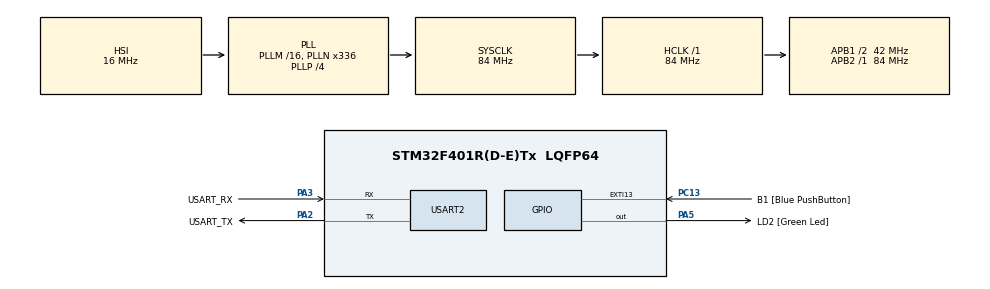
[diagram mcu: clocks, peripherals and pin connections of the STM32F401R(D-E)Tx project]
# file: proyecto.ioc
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FREERTOS.Tasks01=defaultTask,24,128,StartDefaultTask,Default,NULL,Dynamic,NULL,NULL
FREERTOS.configUSE_NEWLIB_REENTRANT=1
Mcu.Family=STM32F4
Mcu.Name=STM32F401R(D-E)Tx
Mcu.Package=LQFP64
NVIC.PriorityGroup=NVIC_PRIORITYGROUP_4
NVIC.TIM1_UP_TIM10_IRQn=true\:15\:0\:false\:false\:true\:false\:false\:true
NVIC.TimeBase=TIM1_UP_TIM10_IRQn
NVIC.TimeBaseIP=TIM1
NVIC.USART2_IRQn=true\:5\:0\:false\:false\:true\:true\:true\:true
PA13.GPIO_Label=TMS
PA13.Mode=Serial_Wire
PA13.Signal=SYS_JTMS-SWDIO
PA14.GPIO_Label=TCK
PA14.Mode=Serial_Wire
PA14.Signal=SYS_JTCK-SWCLK
PA2.GPIO_Label=USART_TX
PA2.GPIO_Mode=GPIO_MODE_AF_PP
PA2.GPIO_PuPd=GPIO_NOPULL
PA2.GPIO_Speed=GPIO_SPEED_FREQ_LOW
PA2.Mode=Asynchronous
PA2.Signal=USART2_TX
PA3.GPIO_Label=USART_RX
PA3.GPIO_Mode=GPIO_MODE_AF_PP
PA3.GPIO_PuPd=GPIO_NOPULL
PA3.GPIO_Speed=GPIO_SPEED_FREQ_LOW
PA3.Mode=Asynchronous
PA3.Signal=USART2_RX
PA5.GPIO_Label=LD2 [Green Led]
PA5.GPIO_Mode=GPIO_MODE_OUTPUT_PP
PA5.GPIO_PuPd=GPIO_NOPULL
PA5.GPIO_Speed=GPIO_SPEED_FREQ_LOW
PA5.Signal=GPIO_Output
PB3.GPIO_Label=SWO
PB3.Signal=SYS_JTDO-SWO
PC13-ANTI_TAMP.GPIO_Label=B1 [Blue PushButton]
PC13-ANTI_TAMP.GPIO_ModeDefaultEXTI=GPIO_MODE_IT_FALLING
PC13-ANTI_TAMP.GPIO_PuPd=GPIO_NOPULL
PC13-ANTI_TAMP.Signal=GPXTI13
PC14-OSC32_IN.Mode=LSE-External-Oscillator
PC14-OSC32_IN.Signal=RCC_OSC32_IN
PC15-OSC32_OUT.Mode=LSE-External-Oscillator
PC15-OSC32_OUT.Signal=RCC_OSC32_OUT
PH0\ -\ OSC_IN.Mode=HSE-External-Clock-Source
PH0\ -\ OSC_IN.Signal=RCC_OSC_IN
PH1\ -\ OSC_OUT.Mode=HSE-External-Clock-Source
PH1\ -\ OSC_OUT.Signal=RCC_OSC_OUT
ProjectManager.HeapSize=0x200
ProjectManager.StackSize=0x400
ProjectManager.TargetToolchain=STM32CubeIDE
RCC.48MHZClocksFreq_Value=48000000
RCC.AHBFreq_Value=84000000
RCC.APB1CLKDivider=RCC_HCLK_DIV2
RCC.APB1Freq_Value=42000000
RCC.APB1TimFreq_Value=84000000
RCC.APB2Freq_Value=84000000
RCC.APB2TimFreq_Value=84000000
RCC.CortexFreq_Value=84000000
RCC.HCLKFreq_Value=84000000
RCC.HSE_VALUE=8000000
RCC.HSI_VALUE=16000000
RCC.PLLN=336
RCC.PLLP=RCC_PLLP_DIV4
RCC.PLLQ=7
RCC.SYSCLKFreq_VALUE=84000000
RCC.SYSCLKSource=RCC_SYSCLKSOURCE_PLLCLK
RCC.VCOOutputFreq_Value=336000000
USART2.VirtualMode=VM_ASYNC
VP_FREERTOS_VS_CMSIS_V2.Mode=CMSIS_V2
VP_SYS_VS_tim1.Mode=TIM1
board=NUCLEO-F401RE

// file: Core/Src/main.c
/* USER CODE BEGIN Header */
/**
 ******************************************************************************
 * @file           : main.c
 * @brief          : Main program body
 ******************************************************************************
 * @attention
 *
 * <h2><center>&copy; Copyright (c) 2021 STMicroelectronics.
 * All rights reserved.</center></h2>
 *
 * This software component is licensed by ST under BSD 3-Clause license,
 * the "License"; You may not use this file except in compliance with the
 * License. You may obtain a copy of the License at:
 *                        opensource.org/licenses/BSD-3-Clause
 *
 ******************************************************************************
 */
/* USER CODE END Header */
#include "main.h"
#include "cmsis_os.h"

/* USER CODE BEGIN Includes */
#include <stdio.h>
#include <string.h>
#include "qmpool.h"
#include "capa1_impresion.h"
#include "capa2_proceso.h"
#include "capa3_aplicacion.h"
/* USER CODE END Includes */

/* USER CODE BEGIN PD */
#define TAM_PAQUETE 20
#define PACKET_SIZE_200  		200							    // Tamanio del paquete
#define POOL_TOTAL_BLOCKS_200	4								// Cuantos paquetes
#define PACKET_SIZE_100	  		100							    // Tamanio del paquete
#define POOL_TOTAL_BLOCKS_100 	8								// Cuantos paquetes
#define PACKET_SIZE_50  		50							    // Tamanio del paquete
#define POOL_TOTAL_BLOCKS_50 	16								// Cuantos paquetes
#define PACKET_SIZE_25  		25							    // Tamanio del paquete
#define POOL_TOTAL_BLOCKS_25 	32								// Cuantos paquetes
/* USER CODE END PD */

/* USER CODE BEGIN PM */
#define POOL_SIZE 				(POOL_TOTAL_BLOCKS_200*PACKET_SIZE_200) //Todos los pools tienen el mismo tamaño
/* USER CODE END PM */

UART_HandleTypeDef huart2;

/* Definitions for defaultTask */
osThreadId_t defaultTaskHandle;
const osThreadAttr_t defaultTask_attributes = { .name = "defaultTask", .stack_size = 128 * 4, .priority = (osPriority_t) osPriorityNormal, };
/* USER CODE BEGIN PV */
tPool poolPtr_200, poolPtr_100, poolPtr_50, poolPtr_25; //puntero al segmento de memoria que albergara el pool
QMPool poolMem_200, poolMem_100, poolMem_50, poolMem_25; //memory pool (contienen la informacion que necesita la biblioteca qmpool.h)
tPool poolPtr_200, poolPtr_100, poolPtr_50, poolPtr_25; //puntero al segmento de memoria que albergara el pool
QMPool poolMem_200, poolMem_100, poolMem_50, poolMem_25; //memory pool (contienen la informacion que necesita la biblioteca qmpool.h)
QueueHandle_t queue_c2_to_c3;
QueueHandle_t queue_c3_to_c2;
QueueHandle_t queue_c2_to_c1;

/* USER CODE END PV */

void SystemClock_Config(void);
static void MX_GPIO_Init(void);
static void MX_USART2_UART_Init(void);
void StartDefaultTask(void *argument);

int main(void) {
	/* USER CODE BEGIN 1 */
	// ---------- CONFIGURACIONES ------------------------------
	//	Reservo memoria para el memory pool
	poolPtr_200 = (tPool) pvPortMalloc(POOL_SIZE * sizeof(char));
	configASSERT(poolPtr_200!=NULL);
	poolPtr_100 = (tPool) pvPortMalloc(POOL_SIZE * sizeof(char));
	configASSERT(poolPtr_100!=NULL);
	poolPtr_50 = (tPool) pvPortMalloc(POOL_SIZE * sizeof(char));
	configASSERT(poolPtr_50!=NULL);
	poolPtr_25 = (tPool) pvPortMalloc(POOL_SIZE * sizeof(char));
	configASSERT(poolPtr_25!=NULL);

	//	Creo los pools de memoria
	QMPool_init(&poolMem_25, (tPool) poolPtr_25, POOL_SIZE * sizeof(tPool), PACKET_SIZE_25);
	QMPool_init(&poolMem_200, (tPool) poolPtr_200, POOL_SIZE * sizeof(tPool), PACKET_SIZE_200); //Tamanio del segmento de memoria reservado
	QMPool_init(&poolMem_100, (tPool) poolPtr_100, POOL_SIZE * sizeof(tPool), PACKET_SIZE_100);
	QMPool_init(&poolMem_50, (tPool) poolPtr_50, POOL_SIZE * sizeof(tPool), PACKET_SIZE_50);

	// Creo las COLAS para cominicar las diferentes capas

	//inicialización de capas
	// Iniciar scheduler

	// ---------- REPETIR POR SIEMPRE --------------------------
	//configASSERT(0);

	// NO DEBE LLEGAR NUNCA AQUI, debido a que a este programa se ejecuta
	// directamenteno sobre un microcontroladore y no es llamado por ningun
	// Sistema Operativo, como en el caso de un programa para PC.

	/* USER CODE END 1 */

	/* MCU Configuration--------------------------------------------------------*/

	/* Reset of all peripherals, Initializes the Flash interface and the Systick. */
	HAL_Init();

	/* Configure the system clock */
	SystemClock_Config();

	/* Initialize all configured peripherals */
	MX_GPIO_Init();
	MX_USART2_UART_Init();
	/* USER CODE BEGIN 2 */
	uint8_t dataT[14] = "desde main\n\r";
	int tam=sizeof(dataT)/sizeof(dataT[0]);
	HAL_UART_Transmit(&huart2, dataT, tam, HAL_MAX_DELAY);
	init_capa1_impresion(UART_USB);
	init_capa2_proceso(UART_USB);
	init_capa3_aplicacion();
	/* USER CODE END 2 */

	/* Init scheduler */
	osKernelInitialize();

	/* USER CODE BEGIN RTOS_QUEUES */
	/* add queues, ... */
	// Creo las COLAS para cominicar las diferentes capas
	queue_c2_to_c1 = xQueueCreate(N_QUEUE, sizeof(_sFrame));
	configASSERT(queue_c2_to_c1 != NULL); // Gestion de errores de colas

	queue_c2_to_c3 = xQueueCreate(N_QUEUE, sizeof(_sFrame));
	configASSERT(queue_c2_to_c3 != NULL); // Gestion de errores de colas

	queue_c3_to_c2 = xQueueCreate(N_QUEUE, sizeof(_sFrame));
	configASSERT(queue_c3_to_c2 != NULL); // Gestion de errores de colas
	/* USER CODE END RTOS_QUEUES */

	/* Create the thread(s) */
	/* creation of defaultTask */
	defaultTaskHandle = osThreadNew(StartDefaultTask, NULL, &defaultTask_attributes);

	/* Start scheduler */
	//osKernelStart();

	/* We should never get here as control is now taken by the scheduler */
	/* Infinite loop */
	/* USER CODE BEGIN WHILE */
	// Iniciar scheduler
	vTaskStartScheduler();					// Enciende tick | Crea idle y pone en ready | Evalua las tareas creadas | Prioridad mas alta pasa a running
	while (1) {
		/* USER CODE END WHILE */

	}
}

void SystemClock_Config(void) {
	RCC_OscInitTypeDef RCC_OscInitStruct = { 0 };
	RCC_ClkInitTypeDef RCC_ClkInitStruct = { 0 };

	/** Configure the main internal regulator output voltage
	 */
	__HAL_RCC_PWR_CLK_ENABLE();
	__HAL_PWR_VOLTAGESCALING_CONFIG(PWR_REGULATOR_VOLTAGE_SCALE2);
	/** Initializes the RCC Oscillators according to the specified parameters
	 * in the RCC_OscInitTypeDef structure.
	 */
	RCC_OscInitStruct.OscillatorType = RCC_OSCILLATORTYPE_HSI;
	RCC_OscInitStruct.HSIState = RCC_HSI_ON;
	RCC_OscInitStruct.HSICalibrationValue = RCC_HSICALIBRATION_DEFAULT;
	RCC_OscInitStruct.PLL.PLLState = RCC_PLL_ON;
	RCC_OscInitStruct.PLL.PLLSource = RCC_PLLSOURCE_HSI;
	RCC_OscInitStruct.PLL.PLLM = 16;
	RCC_OscInitStruct.PLL.PLLN = 336;
	RCC_OscInitStruct.PLL.PLLP = RCC_PLLP_DIV4;
	RCC_OscInitStruct.PLL.PLLQ = 7;
	if (HAL_RCC_OscConfig(&RCC_OscInitStruct) != HAL_OK) {
		Error_Handler();
	}
	/** Initializes the CPU, AHB and APB buses clocks
	 */
	RCC_ClkInitStruct.ClockType = RCC_CLOCKTYPE_HCLK | RCC_CLOCKTYPE_SYSCLK | RCC_CLOCKTYPE_PCLK1 | RCC_CLOCKTYPE_PCLK2;
	RCC_ClkInitStruct.SYSCLKSource = RCC_SYSCLKSOURCE_PLLCLK;
	RCC_ClkInitStruct.AHBCLKDivider = RCC_SYSCLK_DIV1;
	RCC_ClkInitStruct.APB1CLKDivider = RCC_HCLK_DIV2;
	RCC_ClkInitStruct.APB2CLKDivider = RCC_HCLK_DIV1;

	if (HAL_RCC_ClockConfig(&RCC_ClkInitStruct, FLASH_LATENCY_2) != HAL_OK) {
		Error_Handler();
	}
}

static void MX_USART2_UART_Init(void) {

	huart2.Instance = USART2;
	huart2.Init.BaudRate = 115200;
	huart2.Init.WordLength = UART_WORDLENGTH_8B;
	huart2.Init.StopBits = UART_STOPBITS_1;
	huart2.Init.Parity = UART_PARITY_NONE;
	huart2.Init.Mode = UART_MODE_TX_RX;
	huart2.Init.HwFlowCtl = UART_HWCONTROL_NONE;
	huart2.Init.OverSampling = UART_OVERSAMPLING_16;
	if (HAL_UART_Init(&huart2) != HAL_OK) {
		Error_Handler();
	}

}

static void MX_GPIO_Init(void) {
	GPIO_InitTypeDef GPIO_InitStruct = { 0 };

	/* GPIO Ports Clock Enable */
	__HAL_RCC_GPIOC_CLK_ENABLE();
	__HAL_RCC_GPIOH_CLK_ENABLE();
	__HAL_RCC_GPIOA_CLK_ENABLE();
	__HAL_RCC_GPIOB_CLK_ENABLE();

	/*Configure GPIO pin Output Level */
	HAL_GPIO_WritePin(LD2_GPIO_Port, LD2_Pin, GPIO_PIN_RESET);

	/*Configure GPIO pin : B1_Pin */
	GPIO_InitStruct.Pin = B1_Pin;
	GPIO_InitStruct.Mode = GPIO_MODE_IT_FALLING;
	GPIO_InitStruct.Pull = GPIO_NOPULL;
	HAL_GPIO_Init(B1_GPIO_Port, &GPIO_InitStruct);

	/*Configure GPIO pin : LD2_Pin */
	GPIO_InitStruct.Pin = LD2_Pin;
	GPIO_InitStruct.Mode = GPIO_MODE_OUTPUT_PP;
	GPIO_InitStruct.Pull = GPIO_NOPULL;
	GPIO_InitStruct.Speed = GPIO_SPEED_FREQ_LOW;
	HAL_GPIO_Init(LD2_GPIO_Port, &GPIO_InitStruct);

}

/* USER CODE BEGIN 4 */

int __io_putchar(int ch) {
	uint8_t c[1];
	c[0] = ch & 0x00FF;
	HAL_UART_Transmit(&huart2, &*c, 1, 10);
	return ch;
}

int _write(int file, char *ptr, int len) {
	int DataIdx;
	for (DataIdx = 0; DataIdx < len; DataIdx++) {
		__io_putchar(*ptr++);
	}
	return len;
}
/* USER CODE END 4 */

void StartDefaultTask(void *argument) {
	for (;;) {
		osDelay(1);
	}
}

void HAL_TIM_PeriodElapsedCallback(TIM_HandleTypeDef *htim) {
	if (htim->Instance == TIM1) {
		HAL_IncTick();
	}
}

void Error_Handler(void) {
	__disable_irq();
	while (1) {
	}
}

/************************ (C) COPYRIGHT STMicroelectronics *****END OF FILE****/
